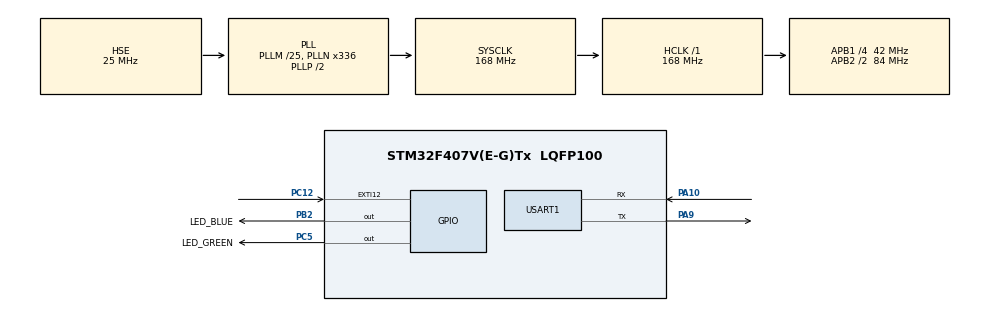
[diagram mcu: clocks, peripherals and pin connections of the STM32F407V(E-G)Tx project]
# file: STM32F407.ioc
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Mcu.Family=STM32F4
Mcu.Name=STM32F407V(E-G)Tx
Mcu.Package=LQFP100
NVIC.EXTI15_10_IRQn=true\:1\:0\:true\:false\:true\:true\:true\:true
NVIC.PriorityGroup=NVIC_PRIORITYGROUP_4
PA10.Mode=Asynchronous
PA10.Signal=USART1_RX
PA13.Mode=Serial_Wire
PA13.Signal=SYS_JTMS-SWDIO
PA14.Mode=Serial_Wire
PA14.Signal=SYS_JTCK-SWCLK
PA9.Mode=Asynchronous
PA9.Signal=USART1_TX
PB2.GPIO_Label=LED_BLUE
PB2.Signal=GPIO_Output
PC12.GPIO_ModeDefaultEXTI=GPIO_MODE_IT_FALLING
PC12.GPIO_PuPd=GPIO_PULLUP
PC12.Signal=GPXTI12
PC5.GPIO_Label=LED_GREEN
PC5.Signal=GPIO_Output
PH0-OSC_IN.Mode=HSE-External-Oscillator
PH0-OSC_IN.Signal=RCC_OSC_IN
PH1-OSC_OUT.Mode=HSE-External-Oscillator
PH1-OSC_OUT.Signal=RCC_OSC_OUT
ProjectManager.HeapSize=0x200
ProjectManager.StackSize=0x1000
ProjectManager.TargetToolchain=MDK-ARM V5.32
RCC.48MHZClocksFreq_Value=84000000
RCC.AHBFreq_Value=168000000
RCC.APB1CLKDivider=RCC_HCLK_DIV4
RCC.APB1Freq_Value=42000000
RCC.APB1TimFreq_Value=84000000
RCC.APB2CLKDivider=RCC_HCLK_DIV2
RCC.APB2Freq_Value=84000000
RCC.APB2TimFreq_Value=168000000
RCC.CortexFreq_Value=168000000
RCC.HCLKFreq_Value=168000000
RCC.HSE_VALUE=25000000
RCC.HSI_VALUE=16000000
RCC.LSE_VALUE=32768
RCC.PLLM=25
RCC.PLLN=336
RCC.PLLSourceVirtual=RCC_PLLSOURCE_HSE
RCC.SYSCLKFreq_VALUE=168000000
RCC.SYSCLKSource=RCC_SYSCLKSOURCE_PLLCLK
RCC.VCOOutputFreq_Value=336000000
USART1.VirtualMode=VM_ASYNC
board=custom

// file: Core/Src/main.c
/* USER CODE BEGIN Header */
/**==================================================================================================================
 ** 【代码编写】  魔女开发板团队
 ** 【淘    宝】  魔女开发板       https://demoboard.taobao.com
 **==================================================================================================================
 ** 【实验名称】  红外避障传感器中断检测
 **
 ** 【适用平台】  STM32F407 + Keil5 + HAL库
 **
 ** 【功能概述】  本程序通过外部中断检测红外避障传感器的输出信号，实现障碍物检测与指示。
 **               1. 初始化系统时钟、GPIO、UART1（printf输出）
 **               2. 配置 PC12 为下降沿触发的外部中断（传感器输出低电平时表示检测到障碍物）
 **               3. 中断响应时点亮蓝色 LED（PB2），打印“发现障碍物！”提示信息
 **               4. 主循环中绿色 LED（PC5）每 500ms 闪烁一次，指示系统运行状态
 **               5. 支持 printf 重定向到 UART1，便于调试输出
 **
 ** 【硬件接线】  1. 红外避障传感器（或类似输出低电平有效的传感器）信号线接 PC12
 **               2. 蓝色 LED 接 PB2（低电平点亮）
 **               3. 绿色 LED 接 PC5（低电平点亮）
 **               4. UART1 用于调试输出，默认引脚 PA9(TX)、PA10(RX)
 **               5. 传感器电源 VCC 接 3.3V 或 5V（视模块要求），GND 共地
 **
 ** 【移植说明】  1. 若传感器输出引脚不同，请在 MX_GPIO_Init() 中修改对应的引脚及中断配置
 **               2. 若需修改 LED 引脚或极性，可调整 HAL_GPIO_WritePin 中的 GPIO 端口及引脚
 **               3. printf 重定向已实现，无需额外配置
 **               4. 中断防抖延时（HAL_Delay(10)）可根据实际情况调整
 **
 ** 【使用说明】  1. 编译下载后，绿色 LED 周期性闪烁，表示系统运行正常
 **               2. 当传感器检测到障碍物时，蓝色 LED 瞬间点亮，串口输出“发现障碍物！”
 **               3. 打开串口助手（115200-8-N-1），可实时查看障碍物检测信息
 **
 ** 【调试建议】  1. 若中断无响应，检查传感器是否输出低电平，可用万用表测量 PC12 电平变化
 **               2. 若蓝色 LED 不亮，检查引脚连接及电平极性
 **               3. 若串口无输出，检查 UART 引脚连接及波特率设置
 **               4. 中断中的延时可根据实际需求调整，避免影响其他中断响应
 **
 ** 【更新记录】  2025-03-16  创建红外避障传感器中断检测程序
 **
 ** 【备注说明】  版权归魔女科技所有，仅供学习使用，请勿用于商业用途。
 **               https://demoboard.taobao.com
 **
==================================================================================================================**/
/* USER CODE END Header */
#include "main.h"
#include "usart.h"
#include "gpio.h"

void SystemClock_Config(void);

/* USER CODE BEGIN 0 */

/******************************************************************************
 * 功能说明： printf函数支持代码
 *           【特别注意】加入以下代码, 使用printf函数时, 不再需要打勾use MicroLIB
 * 备    注：
 * 最后更新： 2024年06月07日
 ******************************************************************************/
#include "stdio.h"                         // 引用C语言标准库，它定义了标准输入输出函数; 如：printf、scanf、sprintf、fopen 等;
#include "stdarg.h"                        // 引用C语言标准库，它定义了处理可变参数的宏; 如：va_start、va_arg、va_end、va_list 等;
#include "string.h"                        // 引用C语言标准库，它定义了操作字符串的函数; 如：strcpy、strcmp、strlen、memset、memcpy 等;
#pragma import(__use_no_semihosting)
struct __FILE
{
    int handle;
};                                         // 标准库需要的支持函数
FILE __stdout;                             // FILE 在stdio.h文件
void _sys_exit(int x)
{
    x = x;                                 // 定义_sys_exit()以避免使用半主机模式
}

int fputc(int ch, FILE *f)                 // 重定向fputc函数，使printf的输出，由fputc输出到UART
{
    HAL_UART_Transmit(&huart1, (uint8_t *)&ch, 1, 10);
    return ch;
}

/* USER CODE END 0 */

int main(void)
{

    /* USER CODE BEGIN 1 */

    /* 说明：
     * 1. 不要删除CubeMX生成的注释行（形如 USER CODE BEGIN/END），这些注释用于代码重新生成时的定位
     * 2. 所有用户自定义代码必须写在对应的BEGIN与END注释行之间，否则重新生成时会被覆盖
     * 3. 主要初始化函数说明：
     *    - HAL_Init()            初始化HAL库，配置中断优先级、系统时基等
     *    - SystemClock_Config()  配置系统时钟
     *    - MX_GPIO_Init()        初始化GPIO引脚（仅包含推挽输出、中断触发等配置）
     *    - 外设功能引脚（如UART、SPI等）的初始化在各自的功能文件中
     */

    /* USER CODE END 1 */

    /* MCU Configuration--------------------------------------------------------*/

    /* Reset of all peripherals, Initializes the Flash interface and the Systick. */
    HAL_Init();

    /* Configure the system clock */
    SystemClock_Config();

    /* Initialize all configured peripherals */
    MX_GPIO_Init();
    MX_USART1_UART_Init();
    /* USER CODE BEGIN 2 */
    HAL_GPIO_WritePin(GPIOB, GPIO_PIN_2, GPIO_PIN_SET);            // 熄灭蓝色LED; 引脚PB2, 高电平断路熄灭;

    /* USER CODE END 2 */

    /* Infinite loop */
    /* USER CODE BEGIN WHILE */
    while (1)
    {

        /** 每500ms执行一次的任务 **/
        static uint32_t lastTime_500ms = 0;                    // 定义静态变量，用于记录上次执行这个任务的时间点(单位：毫秒)
        if (HAL_GetTick() - lastTime_500ms >= 500)             // 检查当前时间距离上次执行是否已经过了500ms; HAL_GetTick()是获取启动后经过的毫秒数;
        {
            HAL_GPIO_TogglePin(GPIOC, GPIO_PIN_5);             // 控制绿色LED引脚电平翻转(PC5); 规律地闪烁LED，方便外部观察系统是否正常运行
            lastTime_500ms =   HAL_GetTick();                  // 记录当前时间，作为新的基准点，为下一次判断做准备
        }
        /* USER CODE END WHILE */

    }
}

void SystemClock_Config(void)
{
    RCC_OscInitTypeDef RCC_OscInitStruct = {0};
    RCC_ClkInitTypeDef RCC_ClkInitStruct = {0};

    /** Configure the main internal regulator output voltage
    */
    __HAL_RCC_PWR_CLK_ENABLE();
    __HAL_PWR_VOLTAGESCALING_CONFIG(PWR_REGULATOR_VOLTAGE_SCALE1);

    /** Initializes the RCC Oscillators according to the specified parameters
    * in the RCC_OscInitTypeDef structure.
    */
    RCC_OscInitStruct.OscillatorType = RCC_OSCILLATORTYPE_HSE;
    RCC_OscInitStruct.HSEState = RCC_HSE_ON;
    RCC_OscInitStruct.PLL.PLLState = RCC_PLL_ON;
    RCC_OscInitStruct.PLL.PLLSource = RCC_PLLSOURCE_HSE;
    RCC_OscInitStruct.PLL.PLLM = 25;
    RCC_OscInitStruct.PLL.PLLN = 336;
    RCC_OscInitStruct.PLL.PLLP = RCC_PLLP_DIV2;
    RCC_OscInitStruct.PLL.PLLQ = 4;
    if (HAL_RCC_OscConfig(&RCC_OscInitStruct) != HAL_OK)
    {
        Error_Handler();
    }

    /** Initializes the CPU, AHB and APB buses clocks
    */
    RCC_ClkInitStruct.ClockType = RCC_CLOCKTYPE_HCLK | RCC_CLOCKTYPE_SYSCLK
                                  | RCC_CLOCKTYPE_PCLK1 | RCC_CLOCKTYPE_PCLK2;
    RCC_ClkInitStruct.SYSCLKSource = RCC_SYSCLKSOURCE_PLLCLK;
    RCC_ClkInitStruct.AHBCLKDivider = RCC_SYSCLK_DIV1;
    RCC_ClkInitStruct.APB1CLKDivider = RCC_HCLK_DIV4;
    RCC_ClkInitStruct.APB2CLKDivider = RCC_HCLK_DIV2;

    if (HAL_RCC_ClockConfig(&RCC_ClkInitStruct, FLASH_LATENCY_5) != HAL_OK)
    {
        Error_Handler();
    }
}

/* USER CODE BEGIN 4 */
/* 所有用户代码，必须写在配对的BEGIN与END注释行之间，否则重新生成时会被删除 */

/******************************************************************************
 * 函  数： HAL_GPIO_EXTI_Callback
 * 功  能： EXTI中断回调函数
 * 参  数： uint16_t  GPIO_Pin    引脚编号；参数范围：GPIO_Pin_0 ~ GPIO_Pin_15
 * 返回值： 无
 * 备  注： CubeMX生成的代码在思维和风格上，与使用标准库编写时有很大的区别：
 *          1：这个是回调函数，不是中断服务函数。它是由硬件触发中断函数继而被程序调用的，背后的流程：EXTIx_IRQHandler() > HAL_GPIO_EXTI_IRQHandler(GPIO_PIN_x) > HAL_GPIO_EXTI_Callback(GPIO_PIN_x)
 *          2：必须使用这个函数名称，因为它在CubeMX生成时，已被写好了各种函数调用、函数弱定义(在stm32xx_hal_gpio.c的底部); 不建议在原弱定义中增添代码，而是在适当的位置重写本函数;
 *          3：中断条件触发后，本函数被自动调用，无需进行人工调用; 也无需进行中断标志的清理，因为HAL_GPIO_EXTI_IRQHandler()函数中已有操作;
 *          4：生成的所有EXTI中断服务函数，都统一自动调用这个函数，传入的参数是引脚的编号;
 *          5：判断参数传进来的引脚编号，即可知道是哪个外部中断线产生的中断信号;
******************************************************************************/
void HAL_GPIO_EXTI_Callback(uint16_t GPIO_Pin)
{
    if (GPIO_Pin == GPIO_PIN_12)                               // 由PC12触发
    {
        HAL_GPIO_WritePin(GPIOB, GPIO_PIN_2, GPIO_PIN_RESET);  // 点亮蓝色LED; 引脚PB2, 低电平通路点亮;
        printf("发现障碍物！\r\n");                            // 打印提示信息; printf需要预先使能UART1，并重定向到UART1输出
        HAL_Delay(10);
    }

}

/* USER CODE END 4 */

void Error_Handler(void)
{
    __disable_irq();
    while (1)
    {
    }
}
